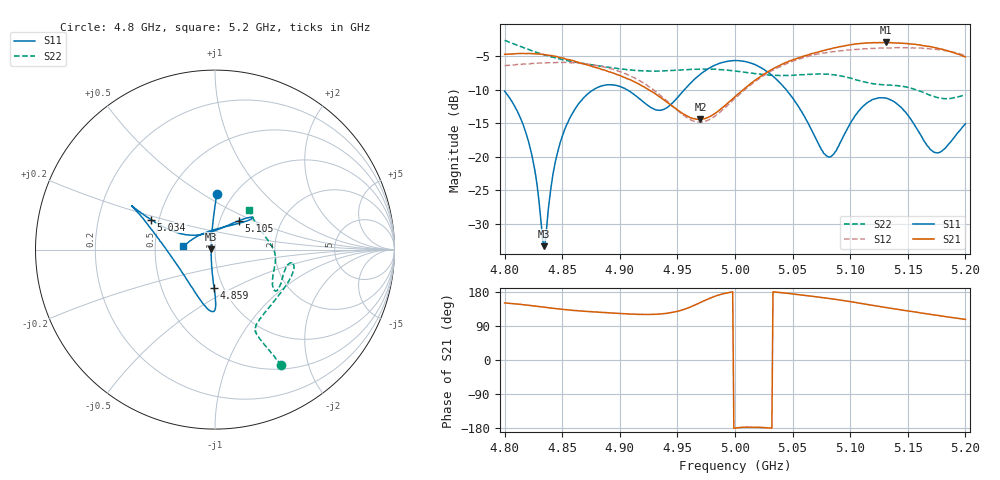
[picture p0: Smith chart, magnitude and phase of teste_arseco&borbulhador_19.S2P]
! Network Analyzer HP8722D
! Hewlett-Packard
! Data name: Linha & Wilkinson
! Saver's name: Rodrigo Anjos
! Comments: Teste da utilização de aquisição
! continua pelo VNA HP8722D
! Time and date: 15/4/2025 15:47
!  Frequency  S11  S21  S12  S22
# HZ  S  MA R 50
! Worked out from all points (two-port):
!   401 points, 4.8 GHz to 5.2 GHz, reference 50 ohm
!   highest |S21| = -2.91 dB at 5.131 GHz (marker M1); lowest = -14.4 dB at 4.97 GHz (marker M2)
!   |S21| within 3 dB of the highest: start of sweep to 4.864 GHz; 5.044 GHz to end of sweep
!   lowest |S11| = -33.3 dB at 4.834 GHz (marker M3), VSWR 1.04, Z = 47.9 + j0.255 ohm
!   |S11| at or under -10 dB: start of sweep to 4.877 GHz; 4.907 GHz to 4.956 GHz (49.45 MHz wide, 1 % of centre); 5.045 GHz to end of sweep
!   |S22| runs from -11.3 to -2.6 dB; largest |S21 - S12| = 1.3
!   S11 on the Smith chart (normalised r, x): 4.8 GHz: 0.84, +0.57; 4.859 GHz: 0.90, -0.40; 5.034 GHz: 0.45, +0.18; 5.105 GHz: 1.23, +0.41; 5.2 GHz: 0.70, +0.03
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4.8e9  0.3095 88.2  0.5835 150.5  0.4802 -111.5  0.7405 -60.0
4.812e9  0.2107 91.2  0.5919 147.4  0.4903 -111.2  0.6768 -61.1
4.821e9  0.128 96.4  0.593 144.2  0.4955 -110.5  0.6328 -61.8
4.827e9  0.07237 105.3  0.5888 142.3  0.499 -109.9  0.6068 -62.3
4.834e9  0.02151 172.9  0.5816 139.5  0.5042 -109.7  0.5793 -62.9
4.836e9  0.02662 -143.6  0.5769 138.6  0.5034 -109.4  0.5733 -63.0
4.84e9  0.05686 -111.3  0.5707 137.2  0.5048 -109.1  0.5605 -63.2
4.845e9  0.09977 -100.2  0.5618 135.5  0.5063 -109.0  0.5457 -63.5
4.859e9  0.2119 -91.4  0.5254 130.9  0.5052 -108.7  0.5147 -63.8
4.867e9  0.2654 -89.6  0.5004 129.2  0.4987 -108.7  0.5006 -63.3
4.895e9  0.3439 -93.7  0.4209 123.7  0.4479 -111.6  0.4599 -57.2
4.934e9  0.2232 -146.0  0.2825 121.2  0.2943 -116.4  0.4371 -35.5
4.97e9  0.4148 158.4  0.1902 151.7  0.1817 -83.7  0.4513 -16.4
5e9  0.5244 152.3  0.281 -179.5  0.2734 -49.7  0.4372 -9.9
5.034e9  0.3938 154.8  0.4594 179.5  0.4487 -43.4  0.4067 -15.4
5.067e9  0.1555 149.0  0.5918 168.2  0.5749 -46.6  0.4142 -29.3
5.083e9  0.1002 102.0  0.6405 161.7  0.6086 -49.4  0.4123 -33.8
5.105e9  0.2071 50.7  0.6966 151.5  0.6354 -54.4  0.3765 -31.6
5.131e9  0.2746 40.1  0.7154 138.5  0.6515 -62.2  0.3445 -14.9
5.134e9  0.2689 40.0  0.7133 137.1  0.6515 -63.4  0.3442 -12.6
5.174e9  0.1077 104.1  0.6532 118.6  0.6365 -77.4  0.2797 20.1
5.2e9  0.1765 174.4  0.557 107.2  0.5716 -86.3  0.2914 49.9
